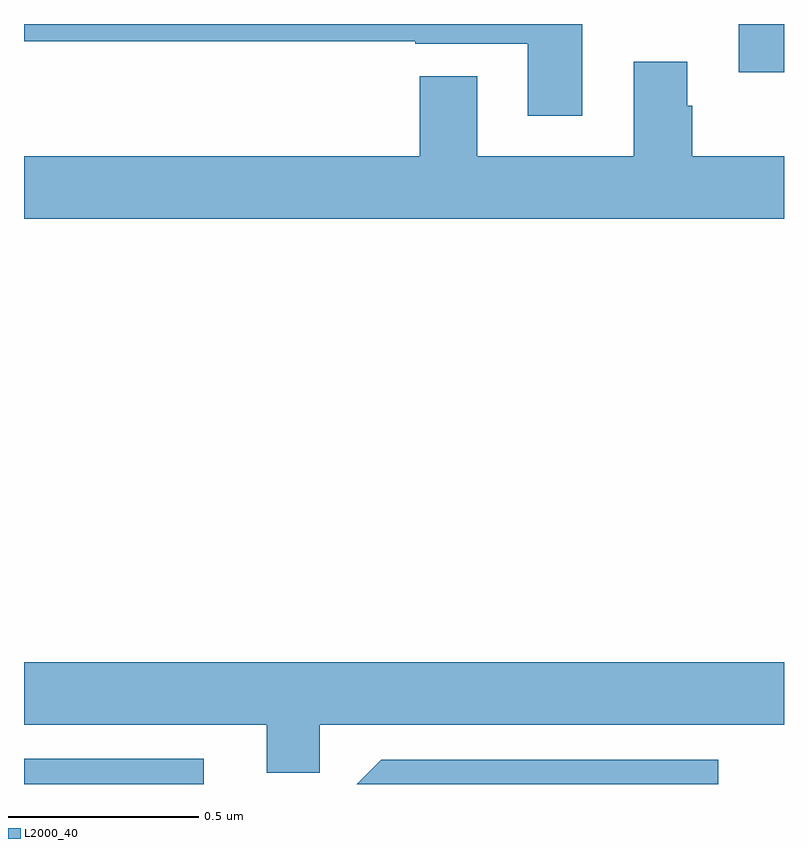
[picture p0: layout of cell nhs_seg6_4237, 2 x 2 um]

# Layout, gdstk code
import gdstk
lib = gdstk.Library(unit=1e-6, precision=1e-09)
def R(c, l, rs):  # rectangles x0, y0, x1, y1
    for r in rs: c.add(gdstk.rectangle(r[:2], r[2:], *l))
def P(c, l, *ps):  # polygons
    for p in ps: c.add(gdstk.Polygon(p, *l))
L2000_40 = (2000, 40)

nhs_seg6_4237 = lib.new_cell('nhs_seg6_4237')
R(nhs_seg6_4237, L2000_40, [(167,960.5,167.473,960.567), (168.881,962.373,169,962.5)])
P(nhs_seg6_4237, L2000_40, [(168.469,962.5),(167,962.5),(167,962.454),(168.03,962.454),(168.03,962.448),(168.326,962.448),(168.326,962.259),(168.469,962.259)],
  [(169,962.152),(168.758,962.152),(168.758,962.285),(168.745,962.285),(168.745,962.401),(168.605,962.401),(168.605,962.152),(168.193,962.152),(168.193,962.363),(168.041,962.363),(168.041,962.152),(167,962.152),(167,961.988),(169,961.988)],
  [(167.778,960.656),(169,960.656),(169,960.82),(167,960.82),(167,960.656),(167.639,960.656),(167.639,960.529),(167.778,960.529)],
  [(168.827,960.564),(167.94,960.564),(167.876,960.5),(168.827,960.5)])

lib.write_gds('nhs_seg6_4237.gds')
